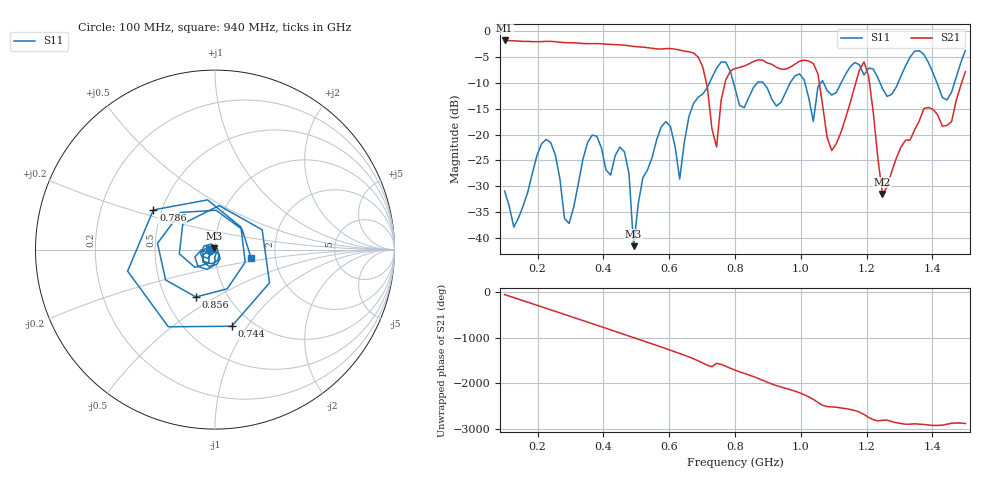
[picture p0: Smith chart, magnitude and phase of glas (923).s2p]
! NanoVNA-App
! Date: 2025-09-25 16:02:39
! Start: 100MHz Stop: 1,5GHz Points: 101
! S-Parameter data: F S11 S21 S12 S22
# Hz S RI R 50
!  Frequency  S11_Real  S11_Imag  S21_Real  S21_Imag  S12_Real  S12_Imag  S22_Real  S22_Imag
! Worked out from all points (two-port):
!   101 points, 100 MHz to 1.5 GHz, reference 50 ohm
!   highest |S21| = -1.80 dB at 100 MHz (marker M1); lowest = -31.5 dB at 1.248 GHz (marker M2)
!   |S21| within 3 dB of the highest: start of sweep to 684.4 MHz
!   lowest |S11| = -41.6 dB at 492 MHz (marker M3), VSWR 1.02, Z = 49.5 + j0.648 ohm
!   |S11| at or under -10 dB: start of sweep to 722.5 MHz; 795.5 MHz to 867.7 MHz (72.16 MHz wide, 8.68 % of centre); 886 MHz to 967.6 MHz (81.66 MHz wide, 8.81 % of centre) (the widest 3 of 7)
!   S12 and S22 are empty: the file has one direction only
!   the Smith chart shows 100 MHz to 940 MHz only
!   S11 on the Smith chart (normalised r, x): 100 MHz: 0.94, -0.01; 744 MHz: 0.81, -0.85; 786 MHz: 0.45, +0.24; 856 MHz: 0.71, -0.41; 940 MHz: 1.49, -0.14
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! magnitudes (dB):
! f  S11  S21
! 100 MHz  -30.9  -1.8
! 128 MHz  -37.9  -1.9
! 226 MHz  -20.9  -2.0
! 296 MHz  -37.2  -2.2
! 338 MHz  -24.7  -2.4
! 464 MHz  -23.3  -2.7
! 492 MHz  -41.6  -2.9
! 576 MHz  -18.5  -3.5
! 632 MHz  -28.6  -3.7
! 702 MHz  -12.2  -6.9
! 744 MHz  -7.2  -22.4
! 786 MHz  -7.8  -7.7
! 800 MHz  -11.1  -7.2
! 856 MHz  -10.9  -5.9
! 940 MHz  -13.8  -7.3
! 996 MHz  -8.3  -5.8
! 1.038 GHz  -17.4  -6.3
! 1.094 GHz  -12.4  -23.1
! 1.192 GHz  -8.5  -5.9
! 1.248 GHz  -11.1  -31.5
! 1.276 GHz  -12.2  -27.2
! 1.5 GHz  -3.7  -7.8
